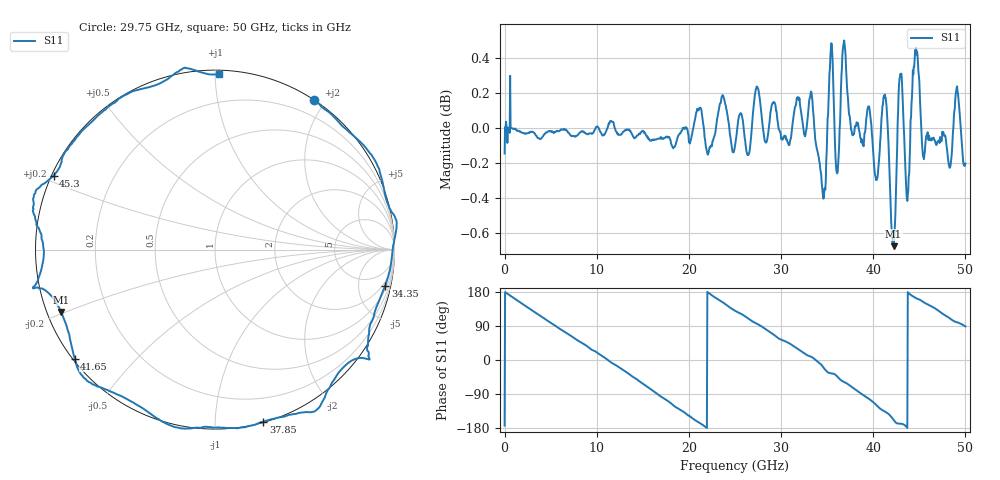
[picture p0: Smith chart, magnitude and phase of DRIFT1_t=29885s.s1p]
!Created with skrf (http://scikit-rf.org).
# Hz S RI R 50.0
!freq ReS11 ImS11
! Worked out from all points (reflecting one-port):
!   1001 points, 300 kHz to 50 GHz, reference 50 ohm
!   lowest |S11| = -0.7 dB at 42.2 GHz (marker M1), VSWR 25.75, Z = 2.02 - j9.74 ohm
!   phase of S11 starts at -173 deg and turns -818 deg over the sweep
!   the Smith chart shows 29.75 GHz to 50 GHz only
!   S11 on the Smith chart (normalised r, x): 29.75 GHz: 0.00, +1.86; 34.35 GHz: 1.36, -9.26; 37.85 GHz: 0.01, -1.32; 41.65 GHz: 0.01, -0.34; 45.3 GHz: 0.01, +0.22; 50 GHz: 0.02, +1.03
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300000  -0.9765 -0.1145
1.450291e9  -0.9121 0.4047
3.25028e9  -0.5921 0.8013
6.250262e9  0.2019 0.9781
9.450243e9  0.8863 0.4543
1.250022e10  0.9321 -0.3491
1.580021e10  0.2382 -0.9626
1.74002e10  -0.2224 -0.9683
1.875019e10  -0.5978 -0.7933
2.150017e10  -0.9931 -0.153
2.350016e10  -0.9239 0.4279
2.500015e10  -0.6341 0.758
2.740014e10  -0.0965 1.023
2.975012e10  0.5496 0.8342
3.125011e10  0.7872 0.6212
3.31501e10  1.005 0.1738
3.435009e10  0.9484 -0.2028
3.520009e10  0.8554 -0.5698
3.750008e10  0.3726 -0.9328
3.785007e10  0.2699 -0.9586
3.960006e10  -0.2377 -0.984
4.165005e10  -0.7825 -0.6073
4.220005e10  -0.8574 -0.3478
4.290004e10  -1.012 -0.2133
4.375004e10  -0.9568 0.0155
4.530003e10  -0.8988 0.4121
4.770001e10  -0.4888 0.8664
5e10  0.0251 0.9764
